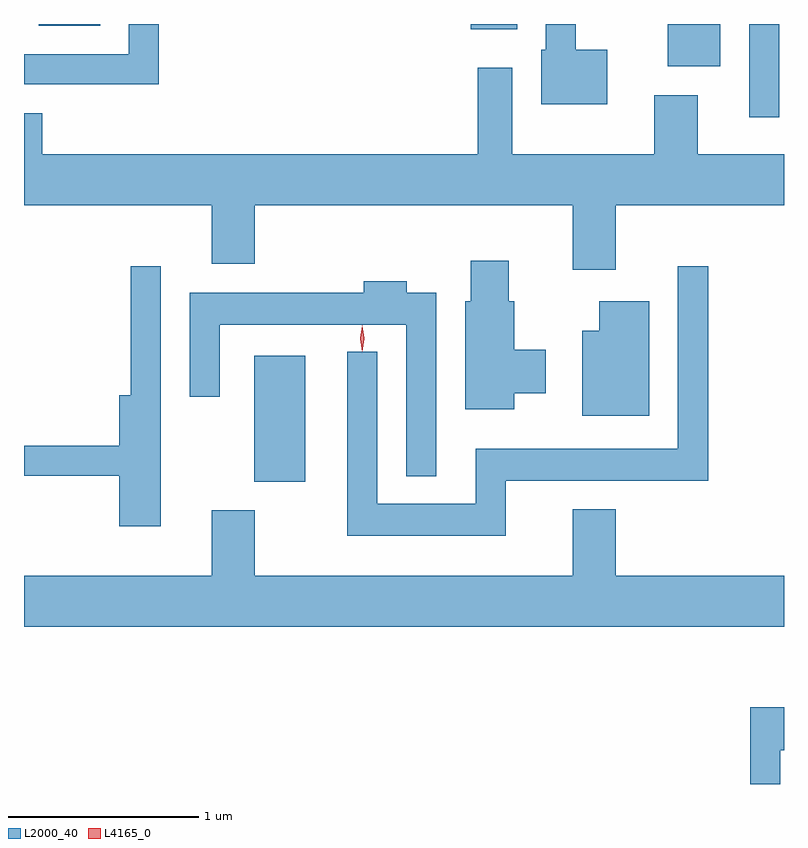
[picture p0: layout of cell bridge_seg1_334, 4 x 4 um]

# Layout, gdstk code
import gdstk
lib = gdstk.Library(unit=1e-6, precision=1e-09)
def R(c, l, rs):  # rectangles x0, y0, x1, y1
    for r in rs: c.add(gdstk.rectangle(r[:2], r[2:], *l))
def P(c, l, *ps):  # polygons
    for p in ps: c.add(gdstk.Polygon(p, *l))
L2000_40 = (2000, 40)
L4165_0 = (4165, 0)

bridge_seg1_334 = lib.new_cell('bridge_seg1_334')
R(bridge_seg1_334, L2000_40, [(922.706,889.241,922.974,889.904), (925.311,891.158,925.469,891.649), (924.881,891.426,925.159,891.649), (923.846,891.621,924.089,891.649), (921.571,891.641,921.894,891.649)])
P(bridge_seg1_334, L2000_40, [(924.564,891.514),(924.399,891.514),(924.399,891.649),(924.241,891.649),(924.241,891.514),(924.216,891.514),(924.216,891.226),(924.564,891.226)],
  [(922.204,891.649),(922.046,891.649),(922.046,891.489),(921.494,891.489),(921.494,891.331),(922.204,891.331)],
  [(924.811,891.274),(924.811,890.964),(924.064,890.964),(924.064,891.419),(923.881,891.419),(923.881,890.964),(921.589,890.964),(921.589,891.179),(921.494,891.179),(921.494,890.696),(922.481,890.696),(922.481,890.386),(922.709,890.386),(922.709,890.696),(924.381,890.696),(924.381,890.356),(924.609,890.356),(924.609,890.696),(925.494,890.696),(925.494,890.964),(925.039,890.964),(925.039,891.274)],
  [(924.074,889.706),(924.239,889.706),(924.239,889.934),(924.074,889.934),(924.074,890.189),(924.044,890.189),(924.044,890.404),(923.846,890.404),(923.846,890.189),(923.816,890.189),(923.816,889.621),(924.074,889.621)],
  [(922.214,890.373),(922.056,890.373),(922.056,889.694),(921.996,889.694),(921.996,889.429),(921.494,889.429),(921.494,889.271),(921.996,889.271),(921.996,889.006),(922.214,889.006)],
  [(924.029,889.246),(925.094,889.246),(925.094,890.373),(924.936,890.373),(924.936,889.414),(923.871,889.414),(923.871,889.124),(923.354,889.124),(923.354,889.923),(923.196,889.923),(923.196,888.956),(924.029,888.956)],
  [(923.664,890.234),(923.509,890.234),(923.509,890.294),(923.281,890.294),(923.281,890.234),(922.366,890.234),(922.366,889.688),(922.524,889.688),(922.524,890.066),(923.506,890.066),(923.506,889.268),(923.664,889.268)],
  [(924.784,890.189),(924.521,890.189),(924.521,890.034),(924.431,890.034),(924.431,889.586),(924.784,889.586)],
  [(925.494,888.744),(924.609,888.744),(924.609,889.094),(924.381,889.094),(924.381,888.744),(922.709,888.744),(922.709,889.089),(922.481,889.089),(922.481,888.744),(921.494,888.744),(921.494,888.476),(925.494,888.476)],
  [(925.474,887.826),(925.494,887.826),(925.494,888.054),(925.316,888.054),(925.316,887.649),(925.474,887.649)])
P(bridge_seg1_334, L4165_0, [(923.274,889.924),(923.265,889.993),(923.274,890.062),(923.275,890.063),(923.275,890.062),(923.285,889.993),(923.275,889.924),(923.275,889.924)],
  [(923.274,889.927),(923.265,889.994),(923.274,890.06),(923.274,890.06),(923.275,890.06),(923.284,889.994),(923.275,889.927),(923.275,889.927)])

lib.write_gds('bridge_seg1_334.gds')
